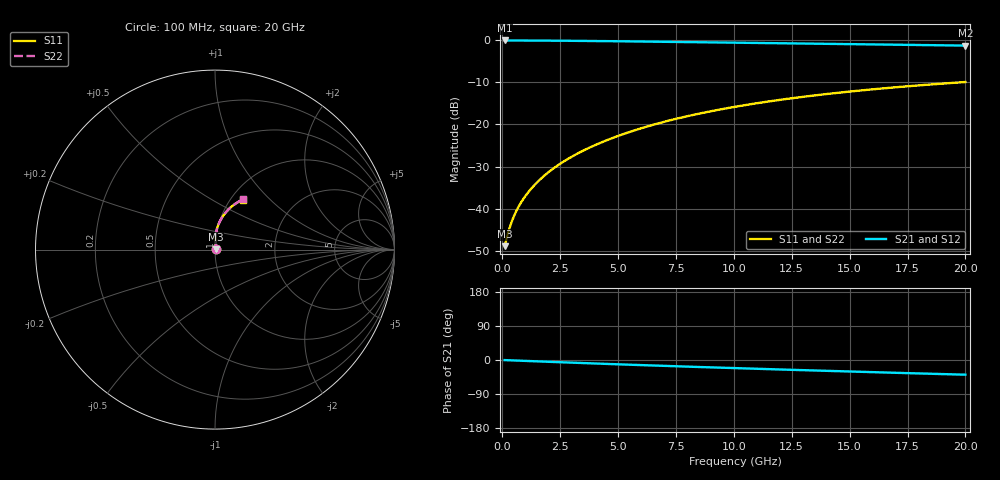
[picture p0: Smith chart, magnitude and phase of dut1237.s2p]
! Touchstone file exported from HFSS 2024.1.0
!  File:  C:/UserFiles/LocalFiles/RDL_TSV_Batchsim/temp_RDL_top_1237_1780240880.aedt
!  Generated:  11:23:34 PM May 31, 2026
!  Design:  RDL_top
!  Project:  temp_RDL_top_1237_1780240880
!  Setup:  Setup1
!  Solution:  Sweep
! Variables:
!  dtsv = 10.80580581um
!  hbump = 3um
!  htsv = 50.36um
!  ldown = 100um
!  lrdl = 578.11um
!  p = 40
!  p1 = 47.1um
!  rhole = 1um
!  t = 450um
!  tdown = 3.915915916um
!  trdl = 2.73um
!  wdown = 15.38538539um
!  wrdl = 25.6um
# GHz S MA R 50.000000
! Terminal data exported
! Port[1] = Box2_T1
! Port[2] = Box2_T2
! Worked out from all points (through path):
!   200 points, 100 MHz to 20 GHz, reference 50 ohm
!   highest |S21| = -0.03 dB at 100 MHz (marker M1); lowest = -1.2 dB at 20 GHz (marker M2)
!   group delay of S21, straight-line fit = 5.32 ps
!   lowest |S11| = -48.9 dB at 100 MHz (marker M3), VSWR 1.01, Z = 50.3 + j0.159 ohm
!   |S11| at or under -10 dB: start of sweep to 19.74 GHz
!   |S22| runs from -48.9 to -9.9 dB; largest |S21 - S12| = 4.4e-15
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0.1  0.003583 26.1  0.9968 -0.3  0.9968 -0.3  0.003583 26.1
! Gamma 0 0 0 0
! Port Impedance 50 0 50 0
0.3  0.005731 51.9  0.9964 -0.7  0.9964 -0.7  0.005731 51.9
0.4  0.006928 57.8  0.9961 -1.0  0.9961 -1.0  0.006928 57.8
0.5  0.008123 62.0  0.9959 -1.2  0.9959 -1.2  0.008123 62.0
0.6  0.009315 65.2  0.9956 -1.5  0.9956 -1.5  0.009315 65.2
0.8  0.01172 70.1  0.9952 -1.9  0.9952 -1.9  0.01172 70.1
1  0.01417 73.6  0.9947 -2.4  0.9947 -2.4  0.01417 73.6
1.2  0.01667 76.2  0.9943 -2.9  0.9943 -2.9  0.01667 76.3
1.7  0.02316 80.7  0.9928 -4.0  0.9928 -4.0  0.02316 80.7
2.2  0.02995 83.4  0.991 -5.2  0.991 -5.2  0.02995 83.4
2.8  0.03849 85.4  0.9883 -6.6  0.9883 -6.6  0.03849 85.4
3.5  0.04897 86.7  0.9847 -8.1  0.9847 -8.1  0.04898 86.7
4.2  0.05998 87.2  0.9805 -9.7  0.9805 -9.7  0.05999 87.3
5  0.07311 87.2  0.9753 -11.4  0.9753 -11.4  0.07314 87.2
5.9  0.08846 86.6  0.969 -13.3  0.969 -13.3  0.08851 86.6
6.8  0.1042 85.5  0.9625 -15.1  0.9625 -15.1  0.1043 85.6
8.4  0.1328 83.0  0.9506 -18.3  0.9506 -18.3  0.1329 83.1
10.1  0.1632 79.9  0.9379 -21.5  0.9379 -21.5  0.1633 79.9
11.7  0.1913 76.7  0.9261 -24.5  0.9261 -24.5  0.1914 76.8
13.4  0.2202 73.3  0.9136 -27.6  0.9136 -27.6  0.2203 73.4
16.7  0.2726 66.9  0.8896 -33.3  0.8896 -33.3  0.2729 66.9
20  0.3198 60.8  0.8661 -38.8  0.8661 -38.8  0.3201 60.8
